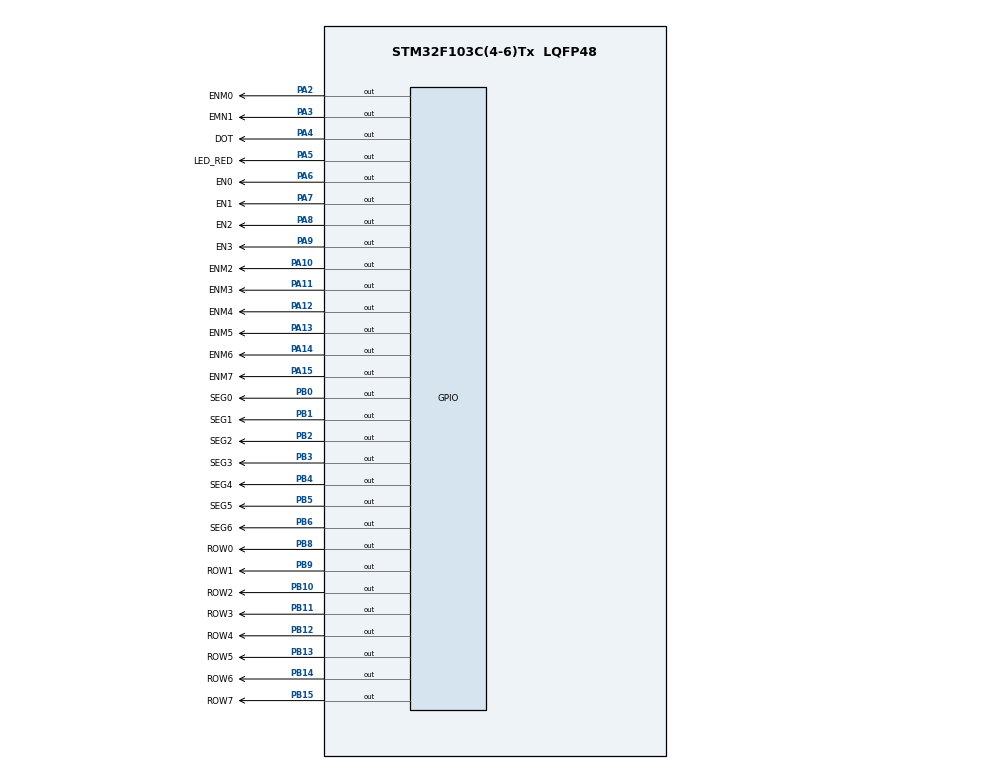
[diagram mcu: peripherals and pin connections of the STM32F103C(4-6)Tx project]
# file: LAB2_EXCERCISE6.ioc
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Mcu.Family=STM32F1
Mcu.Name=STM32F103C(4-6)Tx
Mcu.Package=LQFP48
NVIC.PriorityGroup=NVIC_PRIORITYGROUP_4
NVIC.TIM2_IRQn=true\:0\:0\:false\:false\:true\:true\:true
PA10.GPIO_Label=ENM2
PA10.Signal=GPIO_Output
PA11.GPIO_Label=ENM3
PA11.Signal=GPIO_Output
PA12.GPIO_Label=ENM4
PA12.Signal=GPIO_Output
PA13.GPIO_Label=ENM5
PA13.Signal=GPIO_Output
PA14.GPIO_Label=ENM6
PA14.Signal=GPIO_Output
PA15.GPIO_Label=ENM7
PA15.Signal=GPIO_Output
PA2.GPIO_Label=ENM0
PA2.Signal=GPIO_Output
PA3.GPIO_Label=EMN1
PA3.Signal=GPIO_Output
PA4.GPIO_Label=DOT
PA4.Signal=GPIO_Output
PA5.GPIO_Label=LED_RED
PA5.Signal=GPIO_Output
PA6.GPIO_Label=EN0
PA6.Signal=GPIO_Output
PA7.GPIO_Label=EN1
PA7.Signal=GPIO_Output
PA8.GPIO_Label=EN2
PA8.Signal=GPIO_Output
PA9.GPIO_Label=EN3
PA9.Signal=GPIO_Output
PB0.GPIO_Label=SEG0
PB0.Signal=GPIO_Output
PB1.GPIO_Label=SEG1
PB1.Signal=GPIO_Output
PB10.GPIO_Label=ROW2
PB10.Signal=GPIO_Output
PB11.GPIO_Label=ROW3
PB11.Signal=GPIO_Output
PB12.GPIO_Label=ROW4
PB12.Signal=GPIO_Output
PB13.GPIO_Label=ROW5
PB13.Signal=GPIO_Output
PB14.GPIO_Label=ROW6
PB14.Signal=GPIO_Output
PB15.GPIO_Label=ROW7
PB15.Signal=GPIO_Output
PB2.GPIO_Label=SEG2
PB2.Signal=GPIO_Output
PB3.GPIO_Label=SEG3
PB3.Signal=GPIO_Output
PB4.GPIO_Label=SEG4
PB4.Signal=GPIO_Output
PB5.GPIO_Label=SEG5
PB5.Signal=GPIO_Output
PB6.GPIO_Label=SEG6
PB6.Signal=GPIO_Output
PB8.GPIO_Label=ROW0
PB8.Signal=GPIO_Output
PB9.GPIO_Label=ROW1
PB9.Signal=GPIO_Output
ProjectManager.HeapSize=0x200
ProjectManager.StackSize=0x400
ProjectManager.TargetToolchain=STM32CubeIDE
RCC.APB1Freq_Value=8000000
RCC.APB2Freq_Value=8000000
TIM2.Period=9
TIM2.Prescaler=7999
VP_SYS_VS_ND.Mode=No_Debug
VP_TIM2_VS_ClockSourceINT.Mode=Internal
board=custom

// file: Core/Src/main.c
/* USER CODE BEGIN Header */
/**
  ******************************************************************************
  * @file           : main.c
  * @brief          : Main program body
  ******************************************************************************
  * @attention
  *
  * <h2><center>&copy; Copyright (c) 2025 STMicroelectronics.
  * All rights reserved.</center></h2>
  *
  * This software component is licensed by ST under BSD 3-Clause license,
  * the "License"; You may not use this file except in compliance with the
  * License. You may obtain a copy of the License at:
  *                        opensource.org/licenses/BSD-3-Clause
  *
  ******************************************************************************
  */
/* USER CODE END Header */
#include "main.h"

/* USER CODE BEGIN Includes */
#include "software_timer.h"
/* USER CODE END Includes */

TIM_HandleTypeDef htim2;

void SystemClock_Config(void);
static void MX_GPIO_Init(void);
static void MX_TIM2_Init(void);

/* USER CODE BEGIN 0 */
void display7SEG(int num){
	char led7segm[10]={0xC0, 0xF9, 0xA4, 0xB0, 0x99, 0x92, 0x82, 0xF8, 0x80, 0x90};
	for(int i=0;i<7;i++){
		HAL_GPIO_WritePin(GPIOB, SEG0_Pin<<i,(led7segm[num]>>i)&1);
	}
}

const int MAX_LED = 4;
int index_led = 0;
int led_buffer[4] = {1,2,3,4};
void update7SEG(int index){
	HAL_GPIO_WritePin(EN0_GPIO_Port, EN0_Pin, SET);
	HAL_GPIO_WritePin(EN1_GPIO_Port, EN1_Pin, SET);
	HAL_GPIO_WritePin(EN2_GPIO_Port, EN2_Pin, SET);
	HAL_GPIO_WritePin(EN3_GPIO_Port, EN3_Pin, SET);
	switch (index){
	case 0:
		display7SEG(led_buffer[0]);
		HAL_GPIO_WritePin(EN0_GPIO_Port, EN0_Pin, RESET);
		HAL_GPIO_WritePin(EN1_GPIO_Port, EN1_Pin, SET);
		HAL_GPIO_WritePin(EN2_GPIO_Port, EN2_Pin, SET);
		HAL_GPIO_WritePin(EN3_GPIO_Port, EN3_Pin, SET);
		break;
	case 1:
		display7SEG(led_buffer[1]);
		HAL_GPIO_WritePin(EN0_GPIO_Port, EN0_Pin, SET);
		HAL_GPIO_WritePin(EN1_GPIO_Port, EN1_Pin, RESET);
		HAL_GPIO_WritePin(EN2_GPIO_Port, EN2_Pin, SET);
		HAL_GPIO_WritePin(EN3_GPIO_Port, EN3_Pin, SET);
		break;
	case 2:
		display7SEG(led_buffer[2]);
		HAL_GPIO_WritePin(EN0_GPIO_Port, EN0_Pin, SET);
		HAL_GPIO_WritePin(EN1_GPIO_Port, EN1_Pin, SET);
		HAL_GPIO_WritePin(EN2_GPIO_Port, EN2_Pin, RESET);
		HAL_GPIO_WritePin(EN3_GPIO_Port, EN3_Pin, SET);
		break;
	case 3:
		display7SEG(led_buffer[3]);
		HAL_GPIO_WritePin(EN0_GPIO_Port, EN0_Pin, SET);
		HAL_GPIO_WritePin(EN1_GPIO_Port, EN1_Pin, SET);
		HAL_GPIO_WritePin(EN2_GPIO_Port, EN2_Pin, SET);
		HAL_GPIO_WritePin(EN3_GPIO_Port, EN3_Pin, RESET);
		break;
	default:
		HAL_GPIO_WritePin(EN0_GPIO_Port, EN0_Pin, SET);
		HAL_GPIO_WritePin(EN1_GPIO_Port, EN1_Pin, SET);
		HAL_GPIO_WritePin(EN2_GPIO_Port, EN2_Pin, SET);
		HAL_GPIO_WritePin(EN3_GPIO_Port, EN3_Pin, SET);
		break;
	}
}

void updateClockBuffer(int hour, int minute){
	led_buffer[0] = hour / 10;
	led_buffer[1] = hour % 10;
	led_buffer[2] = minute / 10;
	led_buffer[3] = minute % 10;
}
/* USER CODE END 0 */

int main(void)
{

  /* MCU Configuration--------------------------------------------------------*/

  /* Reset of all peripherals, Initializes the Flash interface and the Systick. */
  HAL_Init();

  /* Configure the system clock */
  SystemClock_Config();

  /* Initialize all configured peripherals */
  MX_GPIO_Init();
  MX_TIM2_Init();
  /* USER CODE BEGIN 2 */
  HAL_TIM_Base_Start_IT(&htim2);
  HAL_GPIO_WritePin(DOT_GPIO_Port, DOT_Pin, RESET);
        int hour = 23, minute =  59, second = 55;
        setTimer1(1000);
        int duration=1000;
        updateClockBuffer(hour, minute);
  /* USER CODE END 2 */

  /* Infinite loop */
  while (1)
  {
	  if (timer1_flag == 1){
	    		HAL_GPIO_TogglePin(LED_RED_GPIO_Port, LED_RED_Pin);
	    		HAL_GPIO_TogglePin(DOT_GPIO_Port, DOT_Pin);
	    		setTimer1(2000);
	    		second++;
	    	  	 if (second >= 60) {
	    	  		 second = 0;
	    	  		 minute ++;
	    	  	 }
	    	  	 if(minute >= 60) {
	    	  		 minute = 0;
	    	  		 hour ++;
	    	  	 }
	    	  	 if(hour >=24){
	    	  		 hour = 0;
	    	  	 }
	    	  	  updateClockBuffer(hour, minute);
	    	  	  setTimer1(duration);
	  }
  }
}

void SystemClock_Config(void)
{
  RCC_OscInitTypeDef RCC_OscInitStruct = {0};
  RCC_ClkInitTypeDef RCC_ClkInitStruct = {0};

  /** Initializes the RCC Oscillators according to the specified parameters
  * in the RCC_OscInitTypeDef structure.
  */
  RCC_OscInitStruct.OscillatorType = RCC_OSCILLATORTYPE_HSI;
  RCC_OscInitStruct.HSIState = RCC_HSI_ON;
  RCC_OscInitStruct.HSICalibrationValue = RCC_HSICALIBRATION_DEFAULT;
  RCC_OscInitStruct.PLL.PLLState = RCC_PLL_NONE;
  if (HAL_RCC_OscConfig(&RCC_OscInitStruct) != HAL_OK)
  {
    Error_Handler();
  }
  /** Initializes the CPU, AHB and APB buses clocks
  */
  RCC_ClkInitStruct.ClockType = RCC_CLOCKTYPE_HCLK|RCC_CLOCKTYPE_SYSCLK
                              |RCC_CLOCKTYPE_PCLK1|RCC_CLOCKTYPE_PCLK2;
  RCC_ClkInitStruct.SYSCLKSource = RCC_SYSCLKSOURCE_HSI;
  RCC_ClkInitStruct.AHBCLKDivider = RCC_SYSCLK_DIV1;
  RCC_ClkInitStruct.APB1CLKDivider = RCC_HCLK_DIV1;
  RCC_ClkInitStruct.APB2CLKDivider = RCC_HCLK_DIV1;

  if (HAL_RCC_ClockConfig(&RCC_ClkInitStruct, FLASH_LATENCY_0) != HAL_OK)
  {
    Error_Handler();
  }
}

static void MX_TIM2_Init(void)
{

  TIM_ClockConfigTypeDef sClockSourceConfig = {0};
  TIM_MasterConfigTypeDef sMasterConfig = {0};

  htim2.Instance = TIM2;
  htim2.Init.Prescaler = 7999;
  htim2.Init.CounterMode = TIM_COUNTERMODE_UP;
  htim2.Init.Period = 9;
  htim2.Init.ClockDivision = TIM_CLOCKDIVISION_DIV1;
  htim2.Init.AutoReloadPreload = TIM_AUTORELOAD_PRELOAD_DISABLE;
  if (HAL_TIM_Base_Init(&htim2) != HAL_OK)
  {
    Error_Handler();
  }
  sClockSourceConfig.ClockSource = TIM_CLOCKSOURCE_INTERNAL;
  if (HAL_TIM_ConfigClockSource(&htim2, &sClockSourceConfig) != HAL_OK)
  {
    Error_Handler();
  }
  sMasterConfig.MasterOutputTrigger = TIM_TRGO_RESET;
  sMasterConfig.MasterSlaveMode = TIM_MASTERSLAVEMODE_DISABLE;
  if (HAL_TIMEx_MasterConfigSynchronization(&htim2, &sMasterConfig) != HAL_OK)
  {
    Error_Handler();
  }

}

static void MX_GPIO_Init(void)
{
  GPIO_InitTypeDef GPIO_InitStruct = {0};

  /* GPIO Ports Clock Enable */
  __HAL_RCC_GPIOA_CLK_ENABLE();
  __HAL_RCC_GPIOB_CLK_ENABLE();

  /*Configure GPIO pin Output Level */
  HAL_GPIO_WritePin(GPIOA, ENM0_Pin|EMN1_Pin|DOT_Pin|LED_RED_Pin
                          |EN0_Pin|EN1_Pin|EN2_Pin|EN3_Pin
                          |ENM2_Pin|ENM3_Pin|ENM4_Pin|ENM5_Pin
                          |ENM6_Pin|ENM7_Pin, GPIO_PIN_RESET);

  /*Configure GPIO pin Output Level */
  HAL_GPIO_WritePin(GPIOB, SEG0_Pin|SEG1_Pin|SEG2_Pin|ROW2_Pin
                          |ROW3_Pin|ROW4_Pin|ROW5_Pin|ROW6_Pin
                          |ROW7_Pin|SEG3_Pin|SEG4_Pin|SEG5_Pin
                          |SEG6_Pin|ROW0_Pin|ROW1_Pin, GPIO_PIN_RESET);

  /*Configure GPIO pins : ENM0_Pin EMN1_Pin DOT_Pin LED_RED_Pin
                           EN0_Pin EN1_Pin EN2_Pin EN3_Pin
                           ENM2_Pin ENM3_Pin ENM4_Pin ENM5_Pin
                           ENM6_Pin ENM7_Pin */
  GPIO_InitStruct.Pin = ENM0_Pin|EMN1_Pin|DOT_Pin|LED_RED_Pin
                          |EN0_Pin|EN1_Pin|EN2_Pin|EN3_Pin
                          |ENM2_Pin|ENM3_Pin|ENM4_Pin|ENM5_Pin
                          |ENM6_Pin|ENM7_Pin;
  GPIO_InitStruct.Mode = GPIO_MODE_OUTPUT_PP;
  GPIO_InitStruct.Pull = GPIO_NOPULL;
  GPIO_InitStruct.Speed = GPIO_SPEED_FREQ_LOW;
  HAL_GPIO_Init(GPIOA, &GPIO_InitStruct);

  /*Configure GPIO pins : SEG0_Pin SEG1_Pin SEG2_Pin ROW2_Pin
                           ROW3_Pin ROW4_Pin ROW5_Pin ROW6_Pin
                           ROW7_Pin SEG3_Pin SEG4_Pin SEG5_Pin
                           SEG6_Pin ROW0_Pin ROW1_Pin */
  GPIO_InitStruct.Pin = SEG0_Pin|SEG1_Pin|SEG2_Pin|ROW2_Pin
                          |ROW3_Pin|ROW4_Pin|ROW5_Pin|ROW6_Pin
                          |ROW7_Pin|SEG3_Pin|SEG4_Pin|SEG5_Pin
                          |SEG6_Pin|ROW0_Pin|ROW1_Pin;
  GPIO_InitStruct.Mode = GPIO_MODE_OUTPUT_PP;
  GPIO_InitStruct.Pull = GPIO_NOPULL;
  GPIO_InitStruct.Speed = GPIO_SPEED_FREQ_LOW;
  HAL_GPIO_Init(GPIOB, &GPIO_InitStruct);

}

void Error_Handler(void)
{
  __disable_irq();
  while (1)
  {
  }
}

/************************ (C) COPYRIGHT STMicroelectronics *****END OF FILE****/
